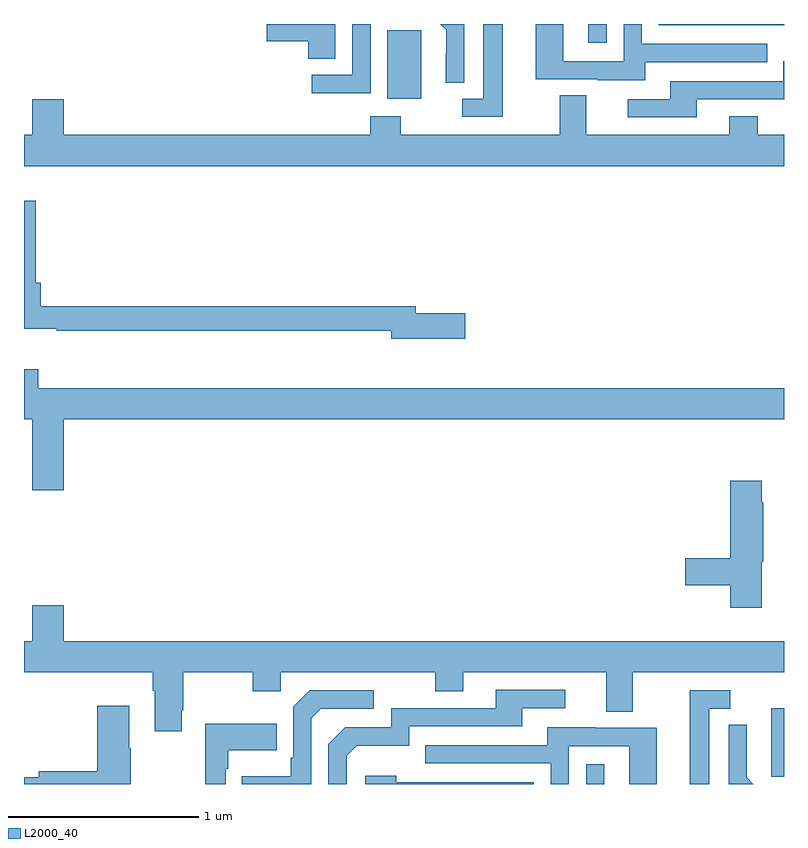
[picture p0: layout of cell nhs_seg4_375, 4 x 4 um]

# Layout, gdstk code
import gdstk
lib = gdstk.Library(unit=1e-6, precision=1e-09)
def R(c, l, rs):  # rectangles x0, y0, x1, y1
    for r in rs: c.add(gdstk.rectangle(r[:2], r[2:], *l))
def P(c, l, *ps):  # polygons
    for p in ps: c.add(gdstk.Polygon(p, *l))
L2000_40 = (2000, 40)

nhs_seg4_375 = lib.new_cell('nhs_seg4_375')
R(nhs_seg4_375, L2000_40, [(131.958,794.9,132.055,795.004), (132.932,794.937,133,795.298), (130.913,798.506,131.092,798.867), (131.969,798.801,132.066,798.9), (132.342,798.894,133,798.9)])
P(nhs_seg4_375, L2000_40, [(131.521,798.9),(131.417,798.9),(131.417,798.507),(131.307,798.507),(131.307,798.411),(131.521,798.411)],
  [(130.639,798.9),(130.278,798.9),(130.278,798.809),(130.496,798.809),(130.496,798.718),(130.639,798.718)],
  [(130.824,798.9),(130.728,798.9),(130.728,798.633),(130.515,798.633),(130.515,798.535),(130.824,798.535)],
  [(131.316,798.9),(131.191,798.9),(131.222,798.869),(131.222,798.746),(131.22,798.746),(131.22,798.592),(131.316,798.592)],
  [(132.271,798.699),(132.911,798.699),(132.911,798.795),(132.252,798.795),(132.252,798.9),(132.156,798.9),(132.156,798.705),(131.838,798.705),(131.838,798.9),(131.693,798.9),(131.693,798.609),(132.017,798.609),(132.017,798.605),(132.271,798.605)],
  [(132.541,798.504),(133,798.504),(133,798.703),(132.996,798.703),(132.996,798.6),(132.401,798.6),(132.401,798.504),(132.177,798.504),(132.177,798.408),(132.541,798.408)],
  [(133,798.316),(132.861,798.316),(132.861,798.415),(132.713,798.415),(132.713,798.316),(131.959,798.316),(131.959,798.524),(131.819,798.524),(131.819,798.316),(130.983,798.316),(130.983,798.415),(130.823,798.415),(130.823,798.316),(129.208,798.316),(129.208,798.505),(129.044,798.505),(129.044,798.316),(129,798.316),(129,798.152),(133,798.152)],
  [(131.323,797.378),(131.062,797.378),(131.062,797.414),(129.089,797.414),(129.089,797.539),(129.062,797.539),(129.062,797.971),(129,797.971),(129,797.297),(129.172,797.297),(129.172,797.286),(130.934,797.286),(130.934,797.243),(131.323,797.243)],
  [(129.208,796.82),(133,796.82),(133,796.984),(129.074,796.984),(129.074,797.083),(129,797.083),(129,796.82),(129.044,796.82),(129.044,796.446),(129.208,796.446)],
  [(132.883,796.071),(132.891,796.071),(132.891,796.382),(132.883,796.382),(132.883,796.495),(132.716,796.495),(132.716,796.088),(132.48,796.088),(132.48,795.946),(132.716,795.946),(132.716,795.828),(132.883,795.828)],
  [(129.829,795.289),(129.837,795.289),(129.837,795.488),(130.204,795.488),(130.204,795.389),(130.35,795.389),(130.35,795.488),(131.164,795.488),(131.164,795.389),(131.311,795.389),(131.311,795.488),(132.065,795.488),(132.065,795.28),(132.205,795.28),(132.205,795.488),(133,795.488),(133,795.652),(129.208,795.652),(129.208,795.841),(129.044,795.841),(129.044,795.652),(129,795.652),(129,795.488),(129.677,795.488),(129.677,795.392),(129.689,795.392),(129.689,795.177),(129.829,795.177)],
  [(130.698,795.048),(130.751,795.101),(131.028,795.101),(131.028,795.204),(131.623,795.204),(131.623,795.3),(131.848,795.3),(131.848,795.396),(131.483,795.396),(131.483,795.3),(130.932,795.3),(130.932,795.198),(130.692,795.198),(130.602,795.108),(130.602,794.9),(130.698,794.9)],
  [(132.607,795.297),(132.718,795.297),(132.718,795.393),(132.503,795.393),(132.503,794.9),(132.607,794.9)],
  [(130.512,795.246),(130.563,795.297),(130.84,795.297),(130.84,795.393),(130.503,795.393),(130.416,795.306),(130.416,795.037),(130.404,795.037),(130.404,794.941),(130.147,794.941),(130.147,794.9),(130.512,794.9)],
  [(129.561,795.089),(129.553,795.089),(129.553,795.313),(129.386,795.313),(129.386,794.966),(129.077,794.966),(129.077,794.936),(129,794.936),(129,794.9),(129.561,794.9)],
  [(130.062,794.981),(130.075,794.981),(130.075,795.077),(130.331,795.077),(130.331,795.217),(129.954,795.217),(129.954,794.9),(130.062,794.9)],
  [(132.803,794.936),(132.803,795.058),(132.804,795.058),(132.804,795.212),(132.708,795.212),(132.708,794.9),(132.838,794.9)],
  [(131.868,795.099),(132.186,795.099),(132.186,794.9),(132.331,794.9),(132.331,795.195),(132.007,795.195),(132.007,795.199),(131.753,795.199),(131.753,795.105),(131.113,795.105),(131.113,795.009),(131.772,795.009),(131.772,794.9),(131.868,794.9)],
  [(131.682,794.91),(130.958,794.91),(130.958,794.944),(130.797,794.944),(130.797,794.9),(131.682,794.9)])

lib.write_gds('nhs_seg4_375.gds')
